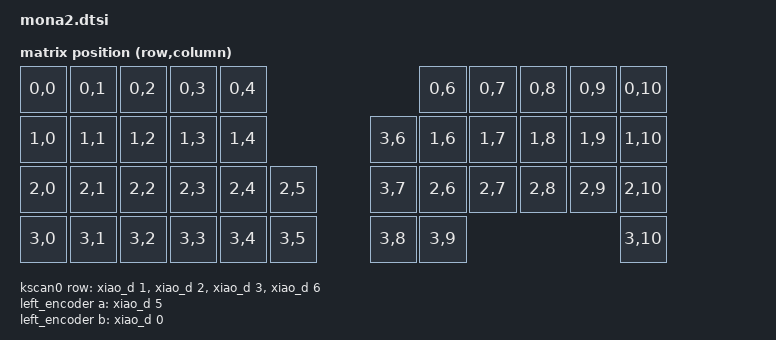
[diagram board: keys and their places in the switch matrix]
#include <dt-bindings/zmk/matrix_transform.h>
#include <input/processors.dtsi>
#include <dt-bindings/zmk/input_transform.h>
#include <physical_layouts.dtsi>

/ {
    chosen {
        zmk,physical-layout = &physical_layout0;
    };

    physical_layout0: physical_layout_0 {
        compatible = "zmk,physical-layout";
        display-name = "default_layout";

        kscan = <&kscan0>;
        transform = <&default_transform>;

        keys  //                     w   h    x    y     rot    rx    ry
            = <&key_physical_attrs 100 100    0    0       0     0     0>
            , <&key_physical_attrs 100 100  100    0       0     0     0>
            , <&key_physical_attrs 100 100  200    0       0     0     0>
            , <&key_physical_attrs 100 100  300    0       0     0     0>
            , <&key_physical_attrs 100 100  400    0       0     0     0>
            , <&key_physical_attrs 100 100  800    0       0     0     0>
            , <&key_physical_attrs 100 100  900    0       0     0     0>
            , <&key_physical_attrs 100 100 1000    0       0     0     0>
            , <&key_physical_attrs 100 100 1100    0       0     0     0>
            , <&key_physical_attrs 100 100 1200    0       0     0     0>
            , <&key_physical_attrs 100 100    0  100       0     0     0>
            , <&key_physical_attrs 100 100  100  100       0     0     0>
            , <&key_physical_attrs 100 100  200  100       0     0     0>
            , <&key_physical_attrs 100 100  300  100       0     0     0>
            , <&key_physical_attrs 100 100  400  100       0     0     0>
            , <&key_physical_attrs 100 100  700  100       0     0     0>
            , <&key_physical_attrs 100 100  800  100       0     0     0>
            , <&key_physical_attrs 100 100  900  100       0     0     0>
            , <&key_physical_attrs 100 100 1000  100       0     0     0>
            , <&key_physical_attrs 100 100 1100  100       0     0     0>
            , <&key_physical_attrs 100 100 1200  100       0     0     0>
            , <&key_physical_attrs 100 100    0  200       0     0     0>
            , <&key_physical_attrs 100 100  100  200       0     0     0>
            , <&key_physical_attrs 100 100  200  200       0     0     0>
            , <&key_physical_attrs 100 100  300  200       0     0     0>
            , <&key_physical_attrs 100 100  400  200       0     0     0>
            , <&key_physical_attrs 100 100  500  200       0     0     0>
            , <&key_physical_attrs 100 100  700  200       0     0     0>
            , <&key_physical_attrs 100 100  800  200       0     0     0>
            , <&key_physical_attrs 100 100  900  200       0     0     0>
            , <&key_physical_attrs 100 100 1000  200       0     0     0>
            , <&key_physical_attrs 100 100 1100  200       0     0     0>
            , <&key_physical_attrs 100 100 1200  200       0     0     0>
            , <&key_physical_attrs 100 100    0  300       0     0     0>
            , <&key_physical_attrs 100 100  100  300       0     0     0>
            , <&key_physical_attrs 100 100  200  300       0     0     0>
            , <&key_physical_attrs 100 100  300  300       0     0     0>
            , <&key_physical_attrs 100 100  400  300       0     0     0>
            , <&key_physical_attrs 100 100  500  300       0     0     0>
            , <&key_physical_attrs 100 100  700  300       0     0     0>
            , <&key_physical_attrs 100 100  800  300       0     0     0>
            , <&key_physical_attrs 100 100 1200  300       0     0     0>
            ;
    };

    default_transform: keymap_transform_0 {
        compatible = "zmk,matrix-transform";
        columns = <11>;
        rows = <4>;               
        map = <
            RC(0,0) RC(0,1) RC(0,2) RC(0,3) RC(0,4)                     RC(0,6) RC(0,7) RC(0,8) RC(0,9) RC(0,10)
            RC(1,0) RC(1,1) RC(1,2) RC(1,3) RC(1,4)             RC(3,6) RC(1,6) RC(1,7) RC(1,8) RC(1,9) RC(1,10)
            RC(2,0) RC(2,1) RC(2,2) RC(2,3) RC(2,4) RC(2,5)     RC(3,7) RC(2,6) RC(2,7) RC(2,8) RC(2,9) RC(2,10)
            RC(3,0) RC(3,1) RC(3,2) RC(3,3) RC(3,4) RC(3,5)     RC(3,8) RC(3,9)                         RC(3,10)         
        >;
    };
    
    kscan0: kscan {
        compatible = "zmk,kscan-gpio-matrix";
        label = "KSCAN";
        diode-direction = "col2row";
            row-gpios
                = <&xiao_d 1 (GPIO_ACTIVE_HIGH | GPIO_PULL_DOWN)> 
                , <&xiao_d 2 (GPIO_ACTIVE_HIGH | GPIO_PULL_DOWN)> 
                , <&xiao_d 3 (GPIO_ACTIVE_HIGH | GPIO_PULL_DOWN)> 
                , <&xiao_d 6 (GPIO_ACTIVE_HIGH | GPIO_PULL_DOWN)> 			
                ;
    };

    //right hand trackball
    trackball_central_listener: trackball_central_listener {
        compatible = "zmk,input-listener";
        status = "disabled";
        input-processors =
            <&zip_xy_transform INPUT_TRANSFORM_Y_INVERT>,         //Y軸反転
            //<&zip_xy_transform INPUT_TRANSFORM_XY_SWAP>,        //X軸とY軸の入れ替え
            //<&zip_xy_transform INPUT_TRANSFORM_X_INVERT>,       //X軸反転
            <&zip_temp_layer 6 10000>;                            //オートマウスレイヤーの選択(レイヤー6=MOUSEを10秒維持)
    };

    left_encoder: encoder_left {
        compatible = "alps,ec11";
        a-gpios = <&xiao_d 5 (GPIO_ACTIVE_HIGH | GPIO_PULL_UP)>;
        b-gpios = <&xiao_d 0 (GPIO_ACTIVE_HIGH | GPIO_PULL_UP)>;
        steps = <24>;
        status = "disabled";
    };

    right_encoder: encoder_right {
        status = "disabled";
    };

    sensors: sensors {
        compatible = "zmk,keymap-sensors";
        sensors = <&left_encoder &right_encoder>;
        triggers-per-rotation = <10>;
    };

};
/* ── シークレット定型文マクロの実装 ─────────────────────────
   scripts/gen_secrets.py が生成する secrets.dtsi (gitignore対象) が
   あれば本物のフレーズ、無ければダミー(&none=何もしない)になる。
   keymap側の m_sec1〜m_sec8 から呼ばれる。CIビルドは常にダミー。 */
#if __has_include("secrets.dtsi")
#include "secrets.dtsi"
#else
/ {
    macros {
        sec1_impl: sec1_impl { compatible = "zmk,behavior-macro"; #binding-cells = <0>; bindings = <&none>; };
        sec2_impl: sec2_impl { compatible = "zmk,behavior-macro"; #binding-cells = <0>; bindings = <&none>; };
        sec3_impl: sec3_impl { compatible = "zmk,behavior-macro"; #binding-cells = <0>; bindings = <&none>; };
        sec4_impl: sec4_impl { compatible = "zmk,behavior-macro"; #binding-cells = <0>; bindings = <&none>; };
        sec5_impl: sec5_impl { compatible = "zmk,behavior-macro"; #binding-cells = <0>; bindings = <&none>; };
        sec6_impl: sec6_impl { compatible = "zmk,behavior-macro"; #binding-cells = <0>; bindings = <&none>; };
        sec7_impl: sec7_impl { compatible = "zmk,behavior-macro"; #binding-cells = <0>; bindings = <&none>; };
        sec8_impl: sec8_impl { compatible = "zmk,behavior-macro"; #binding-cells = <0>; bindings = <&none>; };
    };
};
#endif
